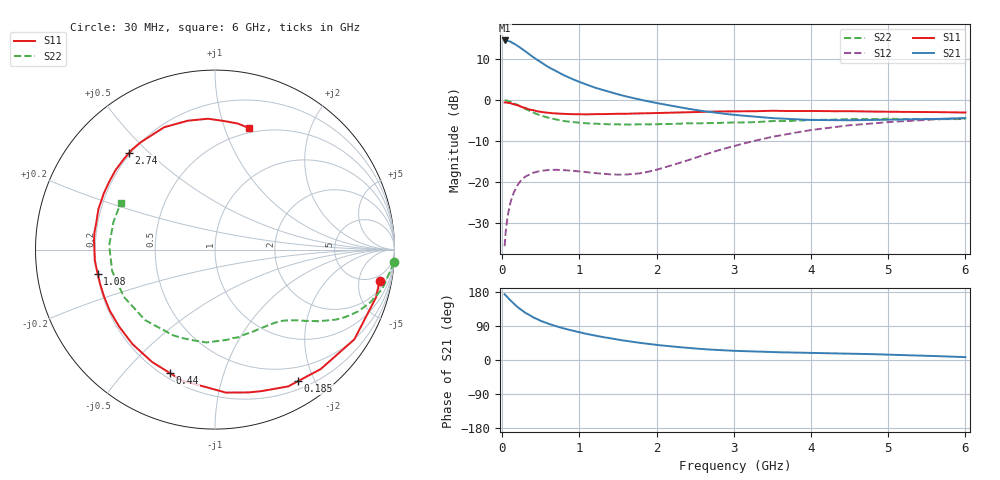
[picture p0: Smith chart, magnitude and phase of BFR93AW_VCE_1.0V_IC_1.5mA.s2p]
! Infineon Technologies  Discrete & RF Semiconductors
! BFR93AW
! VCE =  1.0 V,  IC =  1.5 mA
! Common Emitter S-Parameters:  Nov 2015
# GHz  S  MA  R  50
!  f  S11  S21  S12  S22
! GHz  MAG  ANG  MAG  ANG  MAG  ANG  MAG  ANG
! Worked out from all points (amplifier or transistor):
!   206 points, 30 MHz to 6 GHz, reference 50 ohm
!   highest |S21| = 14.5 dB at 30 MHz (marker M1)
!   |S21| within 3 dB of that: start of sweep to 322.8 MHz
!   unconditionally stable (mu >= 1): 1.276 GHz to 2.709 GHz; 4.769 GHz to end of sweep
!   at 200 MHz: K = 0.15, MSG = 17.0 dB, |S12| = -20.7 dB
!   at 1.56 GHz: K = 1.20, MAG = 7.0 dB, |S12| = -18.2 dB
!   at 6 GHz: K = 1.03, MAG = -1.0 dB, |S12| = -4.4 dB
!   S11 on the Smith chart (normalised r, x): 30 MHz: 3.38, -9.26; 185 MHz: 0.30, -1.78; 440 MHz: 0.23, -0.67; 1.08 GHz: 0.20, -0.10; 2.74 GHz: 0.19, +0.44; 6 GHz: 0.46, +1.22
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0.03  0.9334 -10.9  5.33 173.5  0.0164 81.9  0.9998 -4.1
0.055  0.9312 -18.2  5.301 167.9  0.0301 78.1  0.9818 -7.3
0.1  0.9235 -32.8  5.188 158.5  0.0535 71.5  0.9582 -13.1
0.15  0.8888 -48.5  4.903 148.2  0.0744 63.1  0.9148 -18.7
0.185  0.8669 -57.7  4.668 142.2  0.0867 57.9  0.8825 -21.9
0.24  0.8301 -71.8  4.304 133.0  0.1031 50.9  0.8296 -26.4
0.3  0.7991 -85.6  3.919 124.4  0.1162 44.8  0.7767 -30.2
0.4  0.7524 -104.2  3.336 112.6  0.1291 36.6  0.7011 -34.7
0.44  0.7323 -110.1  3.146 109.1  0.132 34.3  0.678 -36.0
0.52  0.7114 -121.6  2.809 101.7  0.1371 30.3  0.6362 -38.6
0.6  0.6991 -131.1  2.514 95.5  0.1396 27.2  0.6053 -40.6
0.7  0.6851 -141.2  2.239 88.9  0.1406 24.6  0.5764 -43.1
0.88  0.6718 -155.6  1.851 78.8  0.1373 22.3  0.5416 -47.4
1.04  0.6671 -165.9  1.606 71.2  0.1332 22.5  0.5232 -51.7
1.08  0.6673 -168.2  1.555 69.4  0.1319 22.6  0.5195 -53.0
1.5  0.6783 171.9  1.171 53.7  0.1224 32.0  0.5042 -65.3
2.02  0.6943 153.0  0.91 39.3  0.1425 51.5  0.5071 -82.8
2.74  0.7208 131.6  0.705 27.0  0.2333 62.2  0.5229 -108.0
3.1  0.7268 122.2  0.646 23.7  0.2896 60.4  0.5314 -120.1
4.1  0.7318 100.2  0.569 18.4  0.4409 47.2  0.5713 -155.7
5.1  0.7165 84.7  0.576 13.7  0.5431 31.4  0.5869 175.2
6  0.7029 74.2  0.599 7.6  0.6023 19.4  0.586 153.6
